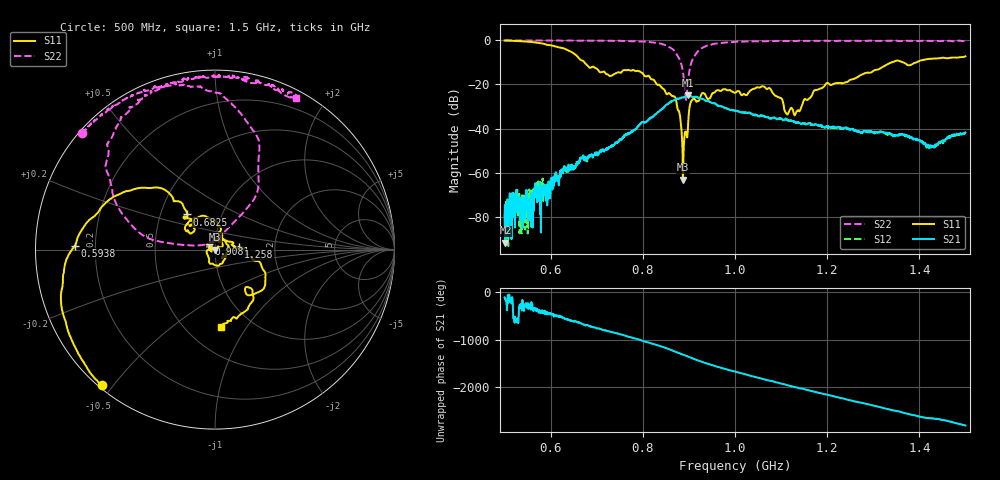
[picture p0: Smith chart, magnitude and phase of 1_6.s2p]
!Agilent Technologies,E8364B,US42250235,A.06.04.32
!Agilent E8364B: A.06.04.32
!Date: Friday, January 15, 2021 14:56:03
!Correction: S11(Full 2 Port(1,2)) S21(Full 2 Port(1,2)) S12(Full 2 Port(1,2)) S22(Full 2 Port(1,2))
!S2P File: Measurements: S11, S21, S12, S22:
# Hz S  dB  R 50
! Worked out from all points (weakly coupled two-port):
!   1601 points, 500 MHz to 1.5 GHz, reference 50 ohm
!   highest |S21| = -24.94 dB at 898.1 MHz (marker M1); lowest = -91.5 dB at 501.9 MHz (marker M2)
!   lowest |S11| = -63.0 dB at 886.9 MHz (marker M3), VSWR 1.00, Z = 50.1 + j0.0431 ohm
!   |S11| at or under -10 dB: 673 MHz to 1.34 GHz (667.5 MHz wide, 66.3 % of centre); 1.365 GHz to 1.394 GHz (29.06 MHz wide, 2.11 % of centre)
!   |S22| runs from -27.0 to -0.1 dB; largest |S21 - S12| = 0.0016
!   S11 on the Smith chart (normalised r, x): 500 MHz: 0.01, -0.47; 593.8 MHz: 0.12, +0.01; 682.5 MHz: 0.68, +0.29; 908.1 MHz: 0.93, +0.06; 1.258 GHz: 1.30, +0.04; 1.5 GHz: 0.73, -0.77
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5e8  -0.13 -129.9  -85.42 -105.6  -80.35 -149.6  -0.13 138.6
5.01875e8  -0.14 -130.8  -91.52 -135.2  -76.80 -158.1  -0.14 138.5
5.9375e8  -2.14 178.5  -66.94 -83.0  -66.41 -99.1  -0.14 129.9
6.66875e8  -9.04 130.4  -53.24 60.3  -53.13 66.2  -0.19 121.7
6.825e8  -12.06 128.3  -52.33 16.5  -52.67 19.7  -0.20 120.0
7.90625e8  -13.95 110.2  -38.92 89.1  -38.54 88.9  -0.54 102.9
8.3375e8  -20.11 76.1  -32.37 -40.3  -32.39 -41.4  -1.32 87.1
8.69375e8  -25.66 34.6  -26.99 -163.4  -27.00 -164.4  -5.10 64.1
8.78125e8  -32.01 44.1  -26.41 161.8  -26.50 161.4  -8.07 53.5
8.86875e8  -62.98 37.3  -25.78 129.0  -25.95 129.2  -14.24 54.8
8.925e8  -41.37 92.2  -25.40 110.9  -25.55 110.3  -25.00 84.0
8.98125e8  -38.02 169.7  -24.94 87.1  -24.99 86.9  -18.34 169.3
9.08125e8  -26.73 138.5  -25.64 48.8  -25.67 48.9  -8.57 170.6
9.39375e8  -26.23 63.3  -27.50 -58.0  -27.46 -58.9  -2.45 143.5
1e9  -23.79 -18.5  -31.94 131.9  -31.85 130.9  -0.76 121.0
1.074375e9  -21.58 -109.5  -35.24 -58.3  -35.15 -57.6  -0.43 108.5
1.1125e9  -33.29 -150.8  -35.56 -153.2  -36.06 -154.0  -0.35 104.3
1.166875e9  -24.93 72.0  -38.10 78.3  -38.05 78.3  -0.35 97.4
1.2575e9  -17.51 6.9  -40.30 -132.0  -40.77 -132.8  -0.28 88.8
1.33375e9  -10.56 -23.3  -41.98 55.9  -42.36 55.8  -0.31 79.3
1.42625e9  -8.38 -62.7  -48.37 -134.3  -47.92 -131.9  -0.34 70.4
1.5e9  -7.30 -85.6  -41.67 76.6  -42.15 76.1  -0.36 62.0
